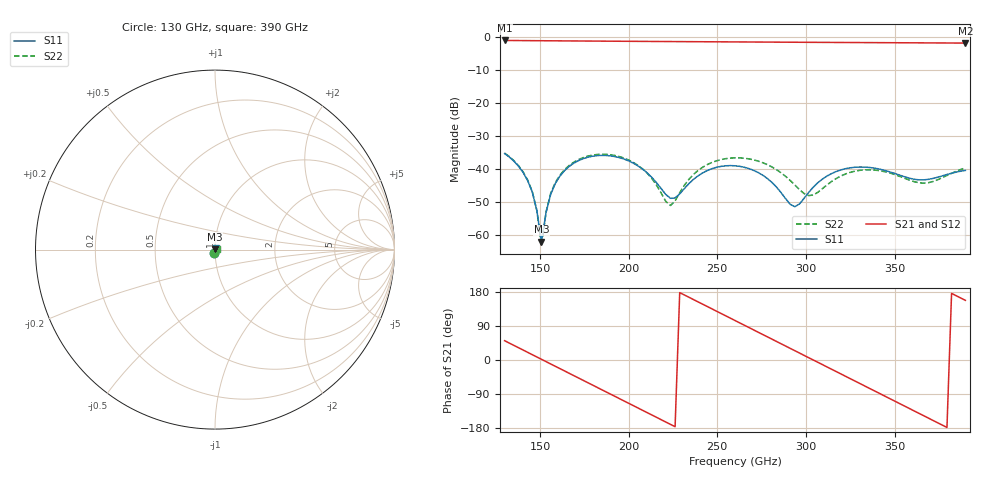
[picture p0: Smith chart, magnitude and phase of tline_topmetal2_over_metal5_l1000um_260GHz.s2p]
#  GHZ S DB R 50
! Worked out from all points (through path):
!   101 points, 130 GHz to 390 GHz, reference 50 ohm
!   highest |S21| = -1.15 dB at 130 GHz (marker M1); lowest = -1.9 dB at 390 GHz (marker M2)
!   group delay of S21, straight-line fit = 6.55 ps
!   lowest |S11| = -62.1 dB at 150.8 GHz (marker M3), VSWR 1.00, Z = 50 + j0.0666 ohm
!   |S11| at or under -10 dB: start of sweep to end of sweep
!   |S22| runs from -63.4 to -35.2 dB; largest |S21 - S12| = 9.6e-14
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130  -35.38 -104.0  -1.15 50.9  -1.15 50.9  -35.25 -104.4
140.4  -41.06 -131.4  -1.19 26.4  -1.19 26.4  -40.91 -131.4
145.6  -47.00 -148.9  -1.21 14.1  -1.21 14.1  -46.88 -148.3
148.2  -52.62 -164.7  -1.22 8.0  -1.22 8.0  -52.64 -162.8
150.8  -62.08 122.1  -1.23 1.8  -1.23 1.8  -63.41 119.6
153.4  -53.20 43.3  -1.24 -4.3  -1.24 -4.3  -53.03 38.9
158.6  -44.44 17.1  -1.26 -16.6  -1.26 -16.6  -44.17 14.9
174.2  -36.95 -26.1  -1.31 -53.4  -1.31 -53.4  -36.63 -27.5
195  -36.64 -81.6  -1.39 -102.4  -1.39 -102.4  -36.33 -82.1
208  -40.14 -121.8  -1.43 -133.1  -1.43 -133.1  -40.09 -121.0
218.4  -46.03 -172.2  -1.46 -157.6  -1.46 -157.6  -47.39 -171.7
223.6  -48.94 138.8  -1.48 -169.9  -1.48 -169.9  -51.10 123.9
236.6  -43.18 36.0  -1.52 159.4  -1.52 159.4  -41.68 21.7
260  -39.08 -41.9  -1.59 104.2  -1.59 104.2  -36.67 -51.0
275.6  -41.91 -91.4  -1.63 67.4  -1.63 67.4  -38.13 -98.0
293.8  -51.46 147.1  -1.69 24.5  -1.69 24.5  -44.91 -173.4
304.2  -45.53 60.2  -1.72 -0.1  -1.72 -0.1  -47.92 98.5
314.6  -41.40 18.6  -1.74 -24.6  -1.74 -24.6  -43.79 28.5
327.6  -39.53 -24.6  -1.78 -55.3  -1.78 -55.3  -40.72 -23.8
348.4  -41.10 -100.5  -1.83 -104.4  -1.83 -104.4  -41.43 -101.8
371.8  -42.90 134.1  -1.89 -159.6  -1.89 -159.6  -43.82 124.0
390  -40.48 53.8  -1.94 157.4  -1.94 157.4  -39.71 34.7
